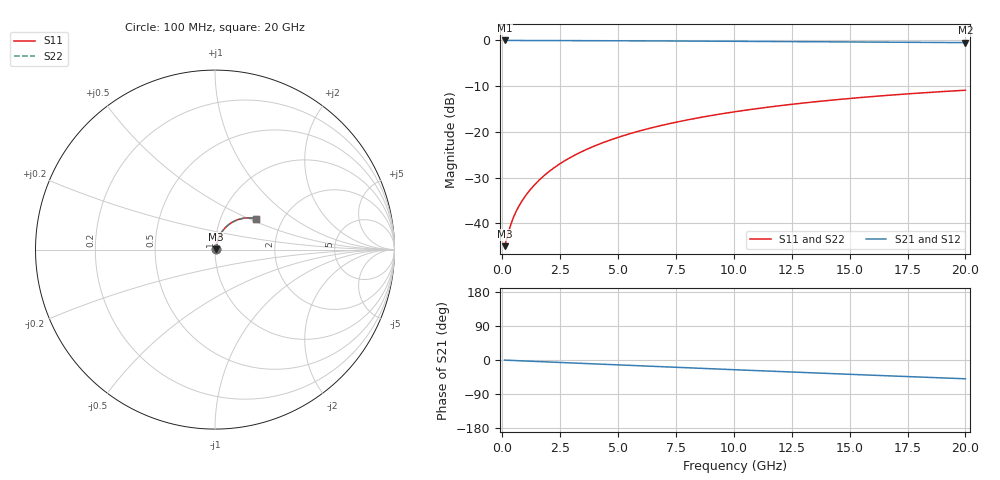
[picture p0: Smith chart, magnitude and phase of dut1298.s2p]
! Touchstone file exported from HFSS 2026.1.0
!  File:  C:/ffzhzh/LocalFiles/Ansys_Project_Files/temp_train_BSMRDL_1298_1783178129_43440.aedt
!  Generated:  11:16:41 PM Jul  4, 2026
!  Design:  BSMRDL
!  Project:  temp_train_BSMRDL_1298_1783178129_43440
! Variables:
!  h_bsmrdl = 2.62um
!  h_ox = 20um
!  h_rdl = 5um
!  h_sub = 80um
!  h_tmrdl = 5um
!  h_tsv = 80um
!  h_via = 3um
!  l_bsmrdl = 824.91um
!  l_sub = 1224.91um
!  l_tmrdl = 200um
!  m_sub = 200um
!  pitch = 34.34um
!  r_tsv = 6um
!  s_tmrdl = 10um
!  w_bsmrdl = 22.73um
!  w_sub = 500um
!  w_tmrdl = 12um
!  x_tsv_center1 = 206um
!  x_tsv_center2 = 1053.64um
!  x_tsv_center3 = 1265.64um
!  x_tsv_center4 = 2113.28um
!  x_tsv_center5 = 2325.28um
!  x_tsv_center6 = 3172.92um
# GHz S MA R 50.000000
! Terminal data exported
! Port[1] = BSM_RDL1_1_T1
! Port[2] = BSM_RDL1_1_T2
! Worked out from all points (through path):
!   200 points, 100 MHz to 20 GHz, reference 50 ohm
!   highest |S21| = -0.04 dB at 100 MHz (marker M1); lowest = -0.5 dB at 20 GHz (marker M2)
!   group delay of S21, straight-line fit = 6.89 ps
!   lowest |S11| = -45.0 dB at 100 MHz (marker M3), VSWR 1.01, Z = 50.5 + j0.223 ohm
!   |S11| at or under -10 dB: start of sweep to end of sweep
!   |S22| runs from -45.0 to -10.9 dB; largest |S21 - S12| = 2.1e-15
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0.1  0.005619 23.2  0.9948 -0.3  0.9948 -0.3  0.005619 23.2
! Gamma 0 0 0 0
! Port Impedance 50 0 50 0
0.3  0.008569 47.4  0.9943 -0.8  0.9943 -0.8  0.008569 47.4
0.4  0.01024 52.8  0.9939 -1.1  0.9939 -1.1  0.01024 52.8
0.5  0.01188 56.5  0.9936 -1.4  0.9936 -1.4  0.01188 56.5
0.6  0.0135 59.3  0.9934 -1.6  0.9934 -1.6  0.0135 59.3
0.8  0.01671 63.4  0.993 -2.2  0.993 -2.2  0.01671 63.4
1  0.01992 66.3  0.9927 -2.7  0.9927 -2.7  0.01992 66.3
1.2  0.02316 68.4  0.9925 -3.2  0.9925 -3.2  0.02316 68.4
1.7  0.03141 71.6  0.992 -4.5  0.992 -4.5  0.03141 71.6
2.2  0.0398 73.0  0.9915 -5.8  0.9915 -5.8  0.0398 72.9
2.8  0.04994 73.5  0.9908 -7.3  0.9908 -7.3  0.04994 73.4
3.5  0.06177 73.2  0.9898 -9.1  0.9898 -9.1  0.06177 73.1
4.2  0.07354 72.3  0.9887 -10.9  0.9887 -10.9  0.07354 72.3
5  0.08686 71.1  0.9872 -13.0  0.9872 -13.0  0.08686 71.0
5.9  0.1016 69.4  0.9853 -15.3  0.9853 -15.3  0.1016 69.3
6.8  0.1161 67.5  0.9832 -17.6  0.9832 -17.6  0.1161 67.5
8.3  0.1395 64.2  0.9792 -21.3  0.9792 -21.3  0.1395 64.1
10.1  0.1662 60.0  0.9739 -25.8  0.9739 -25.8  0.1662 60.0
11.7  0.1887 56.3  0.9689 -29.8  0.9689 -29.8  0.1887 56.3
13.4  0.2112 52.4  0.9634 -33.9  0.9634 -33.9  0.2112 52.3
16.7  0.2507 44.8  0.9525 -41.8  0.9525 -41.8  0.2507 44.7
20  0.2843 37.3  0.9421 -49.6  0.9421 -49.6  0.2843 37.2
